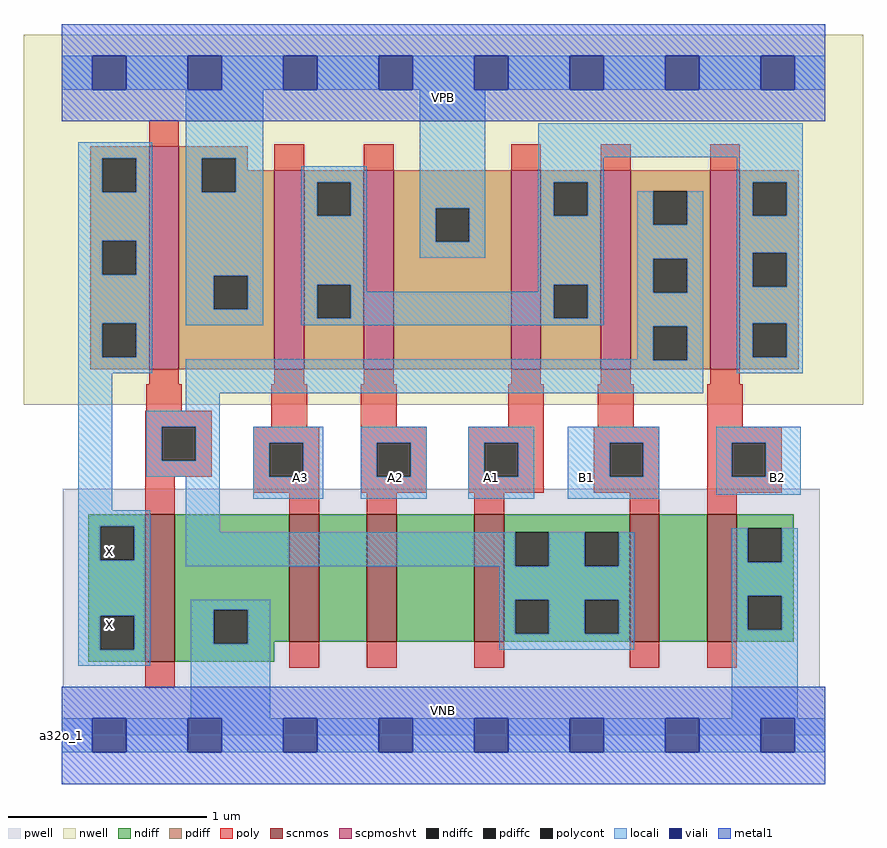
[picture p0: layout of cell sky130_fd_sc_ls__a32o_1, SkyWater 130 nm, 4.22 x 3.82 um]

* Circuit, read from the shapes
.subckt sky130_fd_sc_ls__a32o_1 A1 A2 A3 B1 B2 VGND VNB VPB VPWR X
XM1 VGND n1 X VNB sky130_fd_pr__nfet_01v8 w=0.74 l=0.15
XM2 n2 A3 VGND VNB sky130_fd_pr__nfet_01v8 w=0.64 l=0.15
XM3 n3 A2 n2 VNB sky130_fd_pr__nfet_01v8 w=0.64 l=0.15
XM4 n1 A1 n3 VNB sky130_fd_pr__nfet_01v8 w=0.64 l=0.15
XM5 n4 B1 n1 VNB sky130_fd_pr__nfet_01v8 w=0.64 l=0.15
XM6 VGND B2 n4 VNB sky130_fd_pr__nfet_01v8 w=0.64 l=0.15
XM7 VPWR n1 X VPB sky130_fd_pr__pfet_01v8_hvt w=1.12 l=0.15
XM8 n5 A3 VPWR VPB sky130_fd_pr__pfet_01v8_hvt w=1 l=0.15
XM9 VPWR A2 n5 VPB sky130_fd_pr__pfet_01v8_hvt w=1 l=0.15
XM10 n5 A1 VPWR VPB sky130_fd_pr__pfet_01v8_hvt w=1 l=0.15
XM11 n1 B1 n5 VPB sky130_fd_pr__pfet_01v8_hvt w=1 l=0.15
XM12 n5 B2 n1 VPB sky130_fd_pr__pfet_01v8_hvt w=1 l=0.15
.ends

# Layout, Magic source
magic
tech sky130A
magscale 1 2
<< nwell >>
rect -38 332 806 704
<< pwell >>
rect 1 49 762 248
rect 0 0 768 49
<< scnmos >>
rect 84 74 114 222
rect 229 94 259 222
rect 307 94 337 222
rect 415 94 445 222
rect 571 94 601 222
rect 649 94 679 222
<< scpmoshvt >>
rect 88 368 118 592
rect 214 368 244 568
rect 304 368 334 568
rect 452 368 482 568
rect 542 368 572 568
rect 652 368 682 568
<< ndiff >>
rect 27 210 84 222
rect 27 176 39 210
rect 73 176 84 210
rect 27 120 84 176
rect 27 86 39 120
rect 73 86 84 120
rect 27 74 84 86
rect 114 126 229 222
rect 114 92 153 126
rect 187 94 229 126
rect 259 94 307 222
rect 337 94 415 222
rect 445 204 571 222
rect 445 170 456 204
rect 490 170 526 204
rect 560 170 571 204
rect 445 136 571 170
rect 445 102 456 136
rect 490 102 526 136
rect 560 102 571 136
rect 445 94 571 102
rect 601 94 649 222
rect 679 208 736 222
rect 679 174 690 208
rect 724 174 736 208
rect 679 140 736 174
rect 679 106 690 140
rect 724 106 736 140
rect 679 94 736 106
rect 187 92 214 94
rect 114 74 214 92
<< pdiff >>
rect 29 580 88 592
rect 29 546 41 580
rect 75 546 88 580
rect 29 497 88 546
rect 29 463 41 497
rect 75 463 88 497
rect 29 414 88 463
rect 29 380 41 414
rect 75 380 88 414
rect 29 368 88 380
rect 118 580 187 592
rect 118 546 141 580
rect 175 568 187 580
rect 175 546 214 568
rect 118 462 214 546
rect 118 428 153 462
rect 187 428 214 462
rect 118 368 214 428
rect 244 556 304 568
rect 244 522 257 556
rect 291 522 304 556
rect 244 453 304 522
rect 244 419 257 453
rect 291 419 304 453
rect 244 368 304 419
rect 334 530 452 568
rect 334 496 376 530
rect 410 496 452 530
rect 334 368 452 496
rect 482 556 542 568
rect 482 522 495 556
rect 529 522 542 556
rect 482 453 542 522
rect 482 419 495 453
rect 529 419 542 453
rect 482 368 542 419
rect 572 547 652 568
rect 572 513 595 547
rect 629 513 652 547
rect 572 479 652 513
rect 572 445 595 479
rect 629 445 652 479
rect 572 411 652 445
rect 572 377 595 411
rect 629 377 652 411
rect 572 368 652 377
rect 682 556 741 568
rect 682 522 695 556
rect 729 522 741 556
rect 682 485 741 522
rect 682 451 695 485
rect 729 451 741 485
rect 682 414 741 451
rect 682 380 695 414
rect 729 380 741 414
rect 682 368 741 380
<< ndiffc >>
rect 39 176 73 210
rect 39 86 73 120
rect 153 92 187 126
rect 456 170 490 204
rect 526 170 560 204
rect 456 102 490 136
rect 526 102 560 136
rect 690 174 724 208
rect 690 106 724 140
<< pdiffc >>
rect 41 546 75 580
rect 41 463 75 497
rect 41 380 75 414
rect 141 546 175 580
rect 153 428 187 462
rect 257 522 291 556
rect 257 419 291 453
rect 376 496 410 530
rect 495 522 529 556
rect 495 419 529 453
rect 595 513 629 547
rect 595 445 629 479
rect 595 377 629 411
rect 695 522 729 556
rect 695 451 729 485
rect 695 380 729 414
<< poly >>
rect 88 592 118 618
rect 214 568 244 594
rect 304 568 334 594
rect 452 568 482 594
rect 542 568 572 594
rect 652 568 682 594
rect 88 353 118 368
rect 214 353 244 368
rect 304 353 334 368
rect 452 353 482 368
rect 542 353 572 368
rect 652 353 682 368
rect 85 326 121 353
rect 84 310 151 326
rect 211 310 247 353
rect 301 310 337 353
rect 449 310 485 353
rect 539 310 575 353
rect 649 310 685 353
rect 84 276 101 310
rect 135 276 151 310
rect 84 260 151 276
rect 193 294 259 310
rect 193 260 209 294
rect 243 260 259 294
rect 84 222 114 260
rect 193 244 259 260
rect 301 294 367 310
rect 301 260 317 294
rect 351 260 367 294
rect 301 244 367 260
rect 409 294 485 310
rect 409 260 425 294
rect 459 260 485 294
rect 409 244 485 260
rect 535 294 601 310
rect 535 260 551 294
rect 585 260 601 294
rect 535 244 601 260
rect 229 222 259 244
rect 307 222 337 244
rect 415 222 445 244
rect 571 222 601 244
rect 649 294 724 310
rect 649 260 674 294
rect 708 260 724 294
rect 649 244 724 260
rect 649 222 679 244
rect 84 48 114 74
rect 229 68 259 94
rect 307 68 337 94
rect 415 68 445 94
rect 571 68 601 94
rect 649 68 679 94
<< polycont >>
rect 101 276 135 310
rect 209 260 243 294
rect 317 260 351 294
rect 425 260 459 294
rect 551 260 585 294
rect 674 260 708 294
<< locali >>
rect 0 649 31 683
rect 65 649 127 683
rect 161 649 223 683
rect 257 649 319 683
rect 353 649 415 683
rect 449 649 511 683
rect 545 649 607 683
rect 641 649 703 683
rect 737 649 768 683
rect 17 580 91 596
rect 17 546 41 580
rect 75 546 91 580
rect 17 497 91 546
rect 17 463 41 497
rect 75 463 91 497
rect 17 414 91 463
rect 17 380 41 414
rect 75 380 91 414
rect 125 580 203 649
rect 125 546 141 580
rect 175 546 203 580
rect 125 462 203 546
rect 125 428 153 462
rect 187 428 203 462
rect 125 412 203 428
rect 241 556 307 572
rect 241 522 257 556
rect 291 522 307 556
rect 241 453 307 522
rect 360 530 426 649
rect 360 496 376 530
rect 410 496 426 530
rect 360 480 426 496
rect 479 581 745 615
rect 479 556 545 581
rect 479 522 495 556
rect 529 522 545 556
rect 679 556 745 581
rect 241 419 257 453
rect 291 446 307 453
rect 479 453 545 522
rect 479 446 495 453
rect 291 419 495 446
rect 529 419 545 453
rect 241 412 545 419
rect 579 513 595 547
rect 629 513 645 547
rect 579 479 645 513
rect 579 445 595 479
rect 629 445 645 479
rect 17 364 91 380
rect 579 411 645 445
rect 579 378 595 411
rect 125 377 595 378
rect 629 377 645 411
rect 17 226 51 364
rect 125 344 645 377
rect 679 522 695 556
rect 729 522 745 556
rect 679 485 745 522
rect 679 451 695 485
rect 729 451 745 485
rect 679 414 745 451
rect 679 380 695 414
rect 729 380 745 414
rect 679 364 745 380
rect 125 326 159 344
rect 85 310 159 326
rect 85 276 101 310
rect 135 276 159 310
rect 85 260 159 276
rect 17 210 89 226
rect 17 176 39 210
rect 73 176 89 210
rect 17 120 89 176
rect 125 204 159 260
rect 193 294 263 310
rect 193 260 209 294
rect 243 260 263 294
rect 193 238 263 260
rect 301 294 367 310
rect 301 260 317 294
rect 351 260 367 294
rect 301 238 367 260
rect 409 294 475 310
rect 409 260 425 294
rect 459 260 475 294
rect 409 238 475 260
rect 509 294 601 310
rect 509 260 551 294
rect 585 260 601 294
rect 509 238 601 260
rect 658 294 743 310
rect 658 260 674 294
rect 708 260 743 294
rect 658 242 743 260
rect 125 170 456 204
rect 490 170 526 204
rect 560 170 576 204
rect 440 136 576 170
rect 17 86 39 120
rect 73 86 89 120
rect 17 70 89 86
rect 130 126 210 136
rect 130 92 153 126
rect 187 92 210 126
rect 130 17 210 92
rect 440 102 456 136
rect 490 102 526 136
rect 560 102 576 136
rect 440 86 576 102
rect 674 174 690 208
rect 724 174 740 208
rect 674 140 740 174
rect 674 106 690 140
rect 724 106 740 140
rect 674 17 740 106
rect 0 -17 31 17
rect 65 -17 127 17
rect 161 -17 223 17
rect 257 -17 319 17
rect 353 -17 415 17
rect 449 -17 511 17
rect 545 -17 607 17
rect 641 -17 703 17
rect 737 -17 768 17
<< viali >>
rect 31 649 65 683
rect 127 649 161 683
rect 223 649 257 683
rect 319 649 353 683
rect 415 649 449 683
rect 511 649 545 683
rect 607 649 641 683
rect 703 649 737 683
rect 31 -17 65 17
rect 127 -17 161 17
rect 223 -17 257 17
rect 319 -17 353 17
rect 415 -17 449 17
rect 511 -17 545 17
rect 607 -17 641 17
rect 703 -17 737 17
<< metal1 >>
rect 0 683 768 715
rect 0 649 31 683
rect 65 649 127 683
rect 161 649 223 683
rect 257 649 319 683
rect 353 649 415 683
rect 449 649 511 683
rect 545 649 607 683
rect 641 649 703 683
rect 737 649 768 683
rect 0 617 768 649
rect 0 17 768 49
rect 0 -17 31 17
rect 65 -17 127 17
rect 161 -17 223 17
rect 257 -17 319 17
rect 353 -17 415 17
rect 449 -17 511 17
rect 545 -17 607 17
rect 641 -17 703 17
rect 737 -17 768 17
rect 0 -49 768 -17
<< labels >>
rlabel comment s 0 0 0 0 4 a32o_1
flabel pwell s 0 0 768 49 0 FreeSans 200 0 0 0 VNB
port 7 nsew ground bidirectional
flabel nwell s 0 617 768 666 0 FreeSans 200 0 0 0 VPB
port 8 nsew power bidirectional
flabel metal1 s 0 617 768 666 0 FreeSans 340 0 0 0 VPWR
port 9 nsew power bidirectional abutment
flabel metal1 s 0 0 768 49 0 FreeSans 340 0 0 0 VGND
port 6 nsew ground bidirectional abutment
flabel locali s 31 94 65 128 0 FreeSans 340 0 0 0 X
port 10 nsew signal output
flabel locali s 31 168 65 202 0 FreeSans 340 0 0 0 X
port 10 nsew signal output
flabel locali s 703 242 737 276 0 FreeSans 340 0 0 0 B2
port 5 nsew signal input
flabel locali s 511 242 545 276 0 FreeSans 340 0 0 0 B1
port 4 nsew signal input
flabel locali s 319 242 353 276 0 FreeSans 340 0 0 0 A2
port 2 nsew signal input
flabel locali s 415 242 449 276 0 FreeSans 340 0 0 0 A1
port 1 nsew signal input
flabel locali s 223 242 257 276 0 FreeSans 340 0 0 0 A3
port 3 nsew signal input
<< properties >>
string LEFsite unit
string LEFclass CORE
string FIXED_BBOX 0 0 768 666
string GDS_FILE $PDKPATH/libs.ref/sky130_fd_sc_ls/gds/sky130_fd_sc_ls.gds
string LEFsymmetry X Y
string GDS_END 1324556
string GDS_START 1317518
<< end >>
